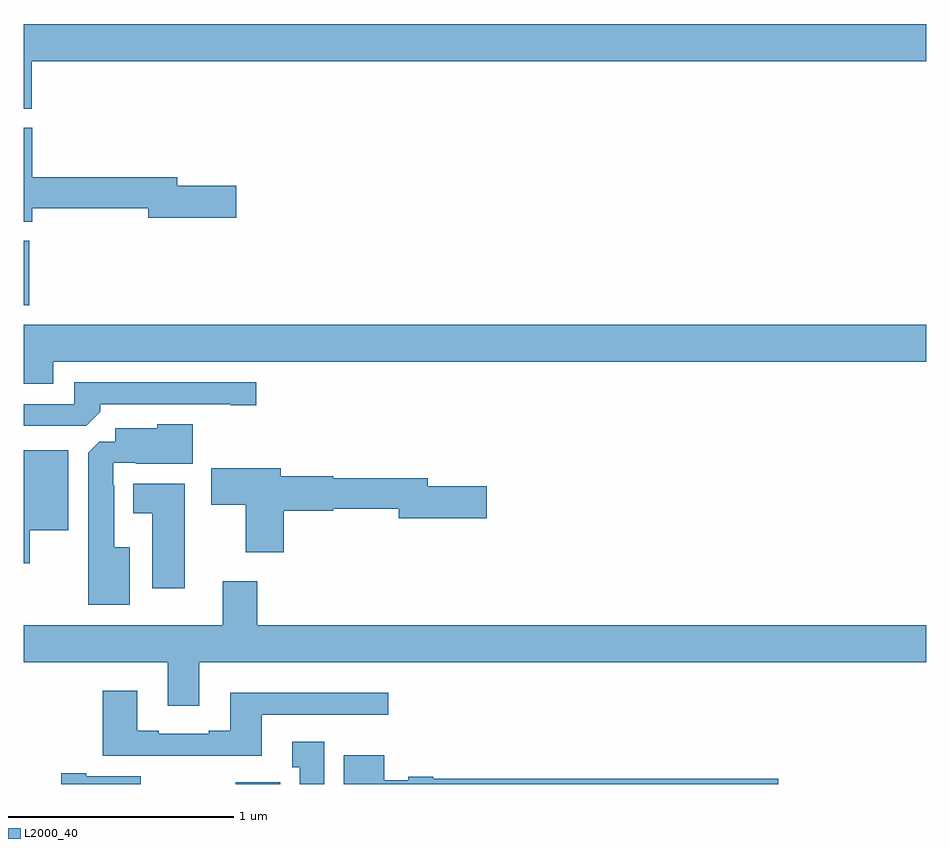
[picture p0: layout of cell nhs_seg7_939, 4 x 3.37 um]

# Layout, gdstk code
import gdstk
lib = gdstk.Library(unit=1e-6, precision=1e-09)
def R(c, l, rs):  # rectangles x0, y0, x1, y1
    for r in rs: c.add(gdstk.rectangle(r[:2], r[2:], *l))
def P(c, l, *ps):  # polygons
    for p in ps: c.add(gdstk.Polygon(p, *l))
L2000_40 = (2000, 40)

nhs_seg7_939 = lib.new_cell('nhs_seg7_939')
R(nhs_seg7_939, L2000_40, [(179.939,1076,180.136,1076.008), (179,1078.122,179.024,1078.407)])
P(nhs_seg7_939, L2000_40, [(179.036,1079.204),(183,1079.204),(183,1079.368),(179,1079.368),(179,1078.993),(179.036,1078.993)],
  [(179.039,1078.552),(179.552,1078.552),(179.552,1078.51),(179.941,1078.51),(179.941,1078.652),(179.68,1078.652),(179.68,1078.688),(179.039,1078.688),(179.039,1078.908),(179,1078.908),(179,1078.492),(179.039,1078.492)],
  [(179.131,1077.872),(183,1077.872),(183,1078.036),(179,1078.036),(179,1077.773),(179.131,1077.773)],
  [(179.339,1077.65),(179.339,1077.684),(179.918,1077.684),(179.918,1077.679),(180.031,1077.679),(180.031,1077.78),(179.223,1077.78),(179.223,1077.684),(179,1077.684),(179,1077.588),(179.277,1077.588)],
  [(179.47,1077.049),(179.401,1077.049),(179.401,1077.323),(179.397,1077.323),(179.397,1077.423),(179.497,1077.423),(179.497,1077.419),(179.749,1077.419),(179.749,1077.595),(179.592,1077.595),(179.592,1077.577),(179.405,1077.577),(179.405,1077.516),(179.334,1077.516),(179.285,1077.467),(179.285,1076.795),(179.47,1076.795)],
  [(179.026,1077.125),(179.197,1077.125),(179.197,1077.478),(179,1077.478),(179,1076.979),(179.026,1076.979)],
  [(180.152,1077.212),(180.372,1077.212),(180.372,1077.22),(180.662,1077.22),(180.662,1077.178),(181.051,1077.178),(181.051,1077.32),(180.79,1077.32),(180.79,1077.356),(180.372,1077.356),(180.372,1077.364),(180.139,1077.364),(180.139,1077.4),(179.832,1077.4),(179.832,1077.238),(179.984,1077.238),(179.984,1077.027),(180.152,1077.027)],
  [(179.713,1077.331),(179.486,1077.331),(179.486,1077.2),(179.57,1077.2),(179.57,1076.868),(179.713,1076.868)],
  [(179.779,1076.54),(183,1076.54),(183,1076.704),(180.035,1076.704),(180.035,1076.899),(179.882,1076.899),(179.882,1076.704),(179,1076.704),(179,1076.54),(179.639,1076.54),(179.639,1076.346),(179.779,1076.346)],
  [(180.055,1076.307),(180.616,1076.307),(180.616,1076.404),(179.915,1076.404),(179.915,1076.236),(179.819,1076.236),(179.819,1076.223),(179.599,1076.223),(179.599,1076.236),(179.503,1076.236),(179.503,1076.413),(179.351,1076.413),(179.351,1076.126),(180.055,1076.126)],
  [(180.331,1076.188),(180.191,1076.188),(180.191,1076.075),(180.224,1076.075),(180.224,1076),(180.331,1076)],
  [(182.344,1076.024),(180.816,1076.024),(180.816,1076.032),(180.705,1076.032),(180.705,1076.017),(180.598,1076.017),(180.598,1076.128),(180.419,1076.128),(180.419,1076),(182.344,1076)],
  [(179.518,1076.035),(179.278,1076.035),(179.278,1076.048),(179.166,1076.048),(179.166,1076),(179.518,1076)])

lib.write_gds('nhs_seg7_939.gds')
